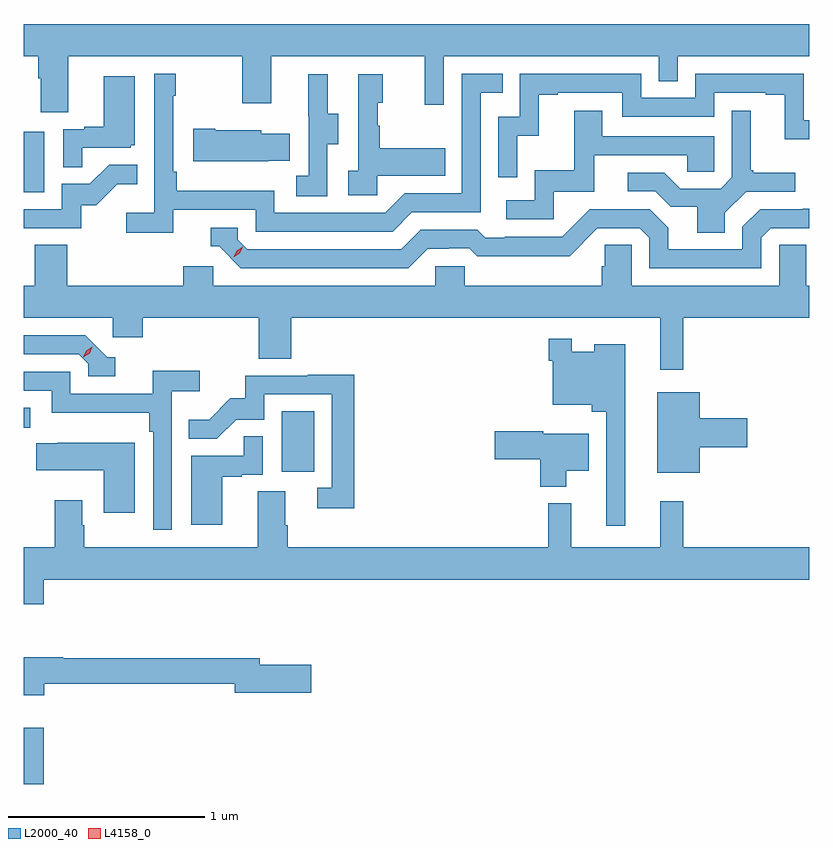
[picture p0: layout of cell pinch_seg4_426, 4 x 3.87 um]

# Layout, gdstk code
import gdstk
lib = gdstk.Library(unit=1e-6, precision=1e-09)
def R(c, l, rs):  # rectangles x0, y0, x1, y1
    for r in rs: c.add(gdstk.rectangle(r[:2], r[2:], *l))
def P(c, l, *ps):  # polygons
    for p in ps: c.add(gdstk.Polygon(p, *l))
L2000_40 = (2000, 40)
L4158_0 = (4158, 0)

pinch_seg4_426 = lib.new_cell('pinch_seg4_426')
R(pinch_seg4_426, L2000_40, [(912.853,783.792,912.956,784.078), (914.168,785.382,914.332,785.689), (912.853,785.605,912.886,785.708), (912.853,786.804,912.958,787.111)])
P(pinch_seg4_426, L2000_40, [(913.081,787.496),(913.966,787.496),(913.966,787.257),(914.113,787.257),(914.113,787.496),(914.894,787.496),(914.894,787.248),(914.991,787.248),(914.991,787.496),(916.086,787.496),(916.086,787.369),(916.182,787.369),(916.182,787.496),(916.853,787.496),(916.853,787.66),(912.853,787.66),(912.853,787.496),(912.929,787.496),(912.929,787.384),(912.941,787.384),(912.941,787.21),(913.081,787.21)],
  [(913.616,786.714),(914.034,786.714),(914.034,786.603),(914.731,786.603),(914.83,786.702),(915.18,786.702),(915.18,787.311),(915.293,787.311),(915.293,787.407),(915.084,787.407),(915.084,786.798),(914.793,786.798),(914.694,786.699),(914.13,786.699),(914.13,786.811),(913.634,786.811),(913.634,786.907),(913.614,786.907),(913.614,787.295),(913.627,787.295),(913.627,787.408),(913.518,787.408),(913.518,786.7),(913.377,786.7),(913.377,786.598),(913.616,786.598)],
  [(915.366,787.091),(915.476,787.091),(915.476,787.299),(915.571,787.299),(915.571,787.311),(915.9,787.311),(915.9,787.188),(916.368,787.188),(916.368,787.311),(916.631,787.311),(916.631,787.299),(916.727,787.299),(916.727,787.073),(916.853,787.073),(916.853,787.171),(916.824,787.171),(916.824,787.407),(916.272,787.407),(916.272,787.284),(915.996,787.284),(915.996,787.407),(915.378,787.407),(915.378,787.188),(915.27,787.188),(915.27,786.879),(915.366,786.879)],
  [(914.652,786.887),(914.999,786.887),(914.999,787.027),(914.665,787.027),(914.665,787.142),(914.655,787.142),(914.655,787.26),(914.68,787.26),(914.68,787.405),(914.556,787.405),(914.556,786.914),(914.505,786.914),(914.505,786.789),(914.652,786.789)],
  [(914.4,787.048),(914.455,787.048),(914.455,787.203),(914.401,787.203),(914.401,787.405),(914.303,787.405),(914.303,787.191),(914.304,787.191),(914.304,786.887),(914.241,786.887),(914.241,786.784),(914.4,786.784)],
  [(913.151,787.029),(913.398,787.029),(913.398,787.044),(913.42,787.044),(913.42,787.393),(913.262,787.393),(913.262,787.138),(913.163,787.138),(913.163,787.125),(913.056,787.125),(913.056,786.931),(913.151,786.931)],
  [(916.423,786.7),(916.53,786.807),(916.78,786.807),(916.78,786.904),(916.567,786.904),(916.567,786.916),(916.555,786.916),(916.555,787.219),(916.458,787.219),(916.458,786.879),(916.401,786.822),(916.195,786.822),(916.114,786.903),(915.927,786.903),(915.927,786.81),(916.068,786.81),(916.148,786.73),(916.283,786.73),(916.283,786.598),(916.423,786.598)],
  [(915.552,786.807),(915.757,786.807),(915.757,786.993),(916.231,786.993),(916.231,786.909),(916.368,786.909),(916.368,787.089),(915.799,787.089),(915.799,787.219),(915.655,787.219),(915.655,786.916),(915.456,786.916),(915.456,786.762),(915.309,786.762),(915.309,786.666),(915.552,786.666)],
  [(914.099,786.965),(914.207,786.965),(914.207,787.102),(914.064,787.102),(914.064,787.12),(913.828,787.12),(913.828,787.128),(913.716,787.128),(913.716,786.962),(914.099,786.962)],
  [(913.146,786.738),(913.222,786.738),(913.329,786.845),(913.433,786.845),(913.433,786.944),(913.289,786.944),(913.191,786.846),(913.047,786.846),(913.047,786.717),(912.853,786.717),(912.853,786.621),(913.146,786.621)],
  [(914.911,786.516),(915.018,786.516),(915.018,786.519),(915.121,786.519),(915.163,786.477),(915.396,786.477),(915.396,786.479),(915.632,786.479),(915.774,786.621),(915.99,786.621),(916.038,786.573),(916.038,786.417),(916.608,786.417),(916.608,786.573),(916.656,786.621),(916.853,786.621),(916.853,786.719),(916.818,786.719),(916.818,786.717),(916.602,786.717),(916.512,786.627),(916.512,786.513),(916.135,786.513),(916.135,786.623),(916.041,786.717),(915.735,786.717),(915.594,786.576),(915.301,786.576),(915.301,786.573),(915.202,786.573),(915.163,786.612),(914.874,786.612),(914.775,786.513),(913.992,786.513),(913.944,786.561),(913.944,786.624),(913.805,786.624),(913.805,786.528),(913.848,786.528),(913.959,786.417),(914.812,786.417)],
  [(916.211,786.164),(916.853,786.164),(916.853,786.328),(916.837,786.328),(916.837,786.536),(916.698,786.536),(916.698,786.328),(915.948,786.328),(915.948,786.536),(915.811,786.536),(915.811,786.426),(915.797,786.426),(915.797,786.328),(915.099,786.328),(915.099,786.426),(914.949,786.426),(914.949,786.328),(913.818,786.328),(913.818,786.426),(913.667,786.426),(913.667,786.328),(913.076,786.328),(913.076,786.536),(912.911,786.536),(912.911,786.328),(912.853,786.328),(912.853,786.164),(913.308,786.164),(913.308,786.066),(913.46,786.066),(913.46,786.164),(914.051,786.164),(914.051,785.956),(914.216,785.956),(914.216,786.164),(916.094,786.164),(916.094,785.901),(916.211,785.901)],
  [(913.321,785.964),(913.278,785.964),(913.167,786.075),(912.853,786.075),(912.853,785.979),(913.134,785.979),(913.182,785.931),(913.182,785.868),(913.321,785.868)],
  [(915.916,786.031),(915.758,786.031),(915.758,785.992),(915.642,785.992),(915.642,786.058),(915.526,786.058),(915.526,785.945),(915.546,785.945),(915.546,785.723),(915.746,785.723),(915.746,785.687),(915.819,785.687),(915.819,785.106),(915.916,785.106)],
  [(913.608,785.792),(913.75,785.792),(913.75,785.894),(913.511,785.894),(913.511,785.778),(913.092,785.778),(913.092,785.889),(912.853,785.889),(912.853,785.793),(912.996,785.793),(912.996,785.681),(913.492,785.681),(913.492,785.585),(913.512,785.585),(913.512,785.085),(913.608,785.085)],
  [(914.537,785.876),(914.299,785.876),(914.299,785.871),(913.981,785.871),(913.981,785.754),(913.904,785.754),(913.797,785.647),(913.693,785.647),(913.693,785.548),(913.837,785.548),(913.935,785.646),(914.079,785.646),(914.079,785.775),(914.421,785.775),(914.421,785.301),(914.349,785.301),(914.349,785.196),(914.537,785.196)],
  [(916.294,785.507),(916.537,785.507),(916.537,785.654),(916.294,785.654),(916.294,785.785),(916.079,785.785),(916.079,785.375),(916.294,785.375)],
  [(915.616,785.387),(915.73,785.387),(915.73,785.575),(915.498,785.575),(915.498,785.588),(915.252,785.588),(915.252,785.446),(915.482,785.446),(915.482,785.306),(915.616,785.306)],
  [(913.864,785.355),(913.964,785.355),(913.964,785.367),(914.07,785.367),(914.07,785.561),(913.975,785.561),(913.975,785.463),(913.706,785.463),(913.706,785.112),(913.864,785.112)],
  [(913.42,785.53),(913.027,785.53),(913.027,785.527),(912.919,785.527),(912.919,785.39),(913.262,785.39),(913.262,785.172),(913.42,785.172)],
  [(912.956,784.832),(916.853,784.832),(916.853,784.996),(916.211,784.996),(916.211,785.23),(916.094,785.23),(916.094,784.996),(915.641,784.996),(915.641,785.221),(915.523,785.221),(915.523,784.996),(914.198,784.996),(914.198,785.108),(914.185,785.108),(914.185,785.282),(914.045,785.282),(914.045,784.996),(913.161,784.996),(913.161,785.108),(913.153,785.108),(913.153,785.236),(913.013,785.236),(913.013,784.996),(912.853,784.996),(912.853,784.708),(912.956,784.708)],
  [(912.958,784.303),(913.928,784.303),(913.928,784.256),(914.317,784.256),(914.317,784.398),(914.056,784.398),(914.056,784.432),(913.054,784.432),(913.054,784.438),(912.853,784.438),(912.853,784.244),(912.958,784.244)])
P(pinch_seg4_426, L4158_0, [(913.923,786.474),(913.923,786.474),(913.938,786.507),(913.968,786.526),(913.969,786.526),(913.969,786.526),(913.953,786.494),(913.923,786.474)],
  [(913.158,785.964),(913.158,785.965),(913.173,785.998),(913.203,786.018),(913.204,786.018),(913.204,786.018),(913.189,785.985),(913.158,785.964)])

lib.write_gds('pinch_seg4_426.gds')
